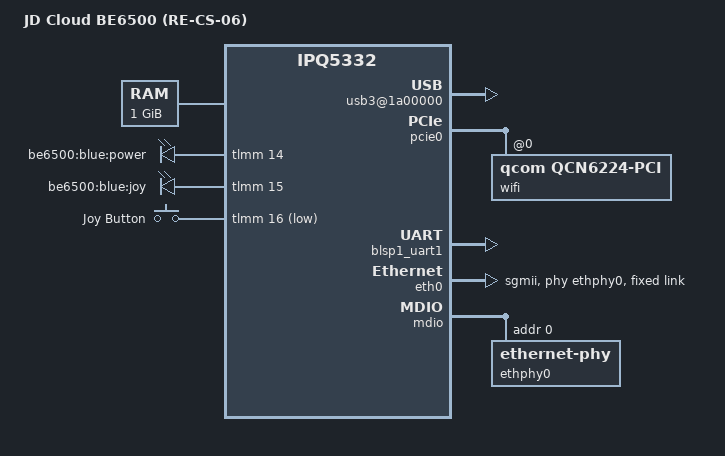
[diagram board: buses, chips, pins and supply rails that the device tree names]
/dts-v1/;
#include "qcom-ipq5332.dtsi"
#include <dt-bindings/gpio/gpio.h>
#include <dt-bindings/input/input.h>

/ {
    model = "JD Cloud BE6500 (RE-CS-06)";
    compatible = "qcom,ipq5332-be6500", "qcom,ipq5332";

    aliases {
        serial0 = &blsp1_uart1;
        led-boot = &led_power;
        led-failsafe = &led_power;
        led-running = &led_power;
        led-upgrade = &led_power;
    };

    memory@0 {
        device_type = "memory";
        reg = <0x0 0x40000000>; // 1GB RAM
    };

    chosen {
        bootargs = "rootwait root=PARTUUID=0000 rootfstype=squashfs,jffs2 noinitrd console=ttyMSM0,115200n8";
    };

    soc {
        usb3@1a00000 {
            status = "okay";
        };
    };

    leds {
        compatible = "gpio-leds";

        led_power: power {
            label = "be6500:blue:power";
            gpios = <&tlmm 14 GPIO_ACTIVE_HIGH>;
            default-state = "on";
        };

        joy_button_light: joy {
            label = "be6500:blue:joy";
            gpios = <&tlmm 15 GPIO_ACTIVE_HIGH>;
        };
    };

    keys {
        compatible = "gpio-keys";
        #address-cells = <1>;
        #size-cells = <0>;

        joy_button {
            label = "Joy Button";
            gpios = <&tlmm 16 GPIO_ACTIVE_LOW>;
            linux,code = <KEY_RESTART>;
        };
    };
};

&pcie0 {
    status = "okay";

    wifi@0,0 {
        compatible = "qcom,qcn6224-pci";
        reg = <0x0 0x0>;
        qcom,ath11k-calibration-data = [00 00 00 00];
    };
};

&blsp1_uart1 {
    status = "okay";
};

&eth0 {
    status = "okay";
    phy-handle = <&ethphy0>;
    phy-mode = "sgmii";
    qcom,emac-pdup = <1>;

    fixed-link {
        speed = <1000>;
        full-duplex;
    };
};

&mdio {
    status = "okay";

    ethphy0: ethernet-phy@0 {
        reg = <0>;
    };
};
